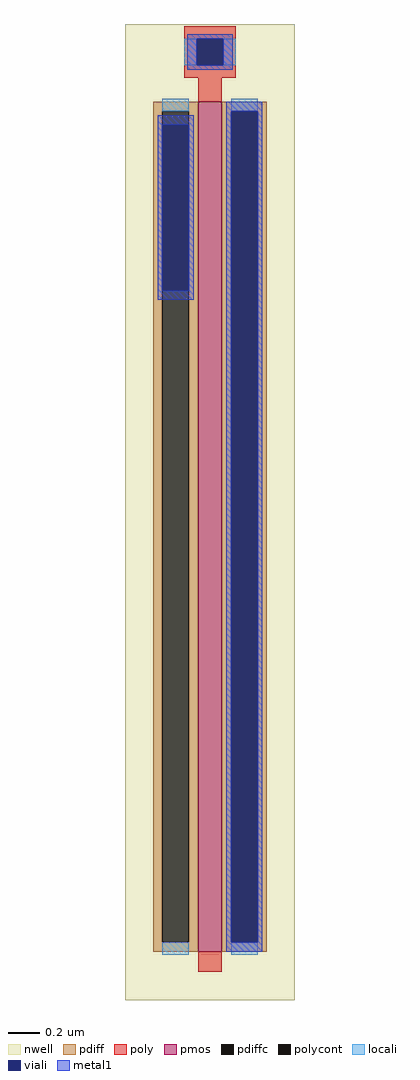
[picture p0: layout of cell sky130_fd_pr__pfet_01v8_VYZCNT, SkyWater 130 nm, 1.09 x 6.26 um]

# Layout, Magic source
magic
tech sky130A
magscale 1 2
<< nwell >>
rect -109 -643 109 609
<< pmos >>
rect -15 -581 15 509
<< pdiff >>
rect -73 497 -15 509
rect -73 -569 -61 497
rect -27 -569 -15 497
rect -73 -581 -15 -569
rect 15 497 73 509
rect 15 -569 27 497
rect 61 -569 73 497
rect 15 -581 73 -569
<< pdiffc >>
rect -61 -569 -27 497
rect 27 -569 61 497
<< poly >>
rect -33 590 33 606
rect -33 556 -17 590
rect 17 556 33 590
rect -33 540 33 556
rect -15 509 15 540
rect -15 -607 15 -581
<< polycont >>
rect -17 556 17 590
<< locali >>
rect -33 556 -17 590
rect 17 556 33 590
rect -61 497 -27 513
rect -61 -585 -27 -569
rect 27 497 61 513
rect 27 -585 61 -569
<< viali >>
rect -17 556 17 590
rect -61 267 -27 480
rect 27 -569 61 497
<< metal1 >>
rect -29 590 29 596
rect -29 556 -17 590
rect 17 556 29 590
rect -29 550 29 556
rect 21 497 67 509
rect -67 480 -21 492
rect -67 267 -61 480
rect -27 267 -21 480
rect -67 255 -21 267
rect 21 -569 27 497
rect 61 -569 67 497
rect 21 -581 67 -569
<< properties >>
string gencell sky130_fd_pr__pfet_01v8
string library sky130
string parameters w 5.445 l 0.15 m 1 nf 1 diffcov 100 polycov 100 guard 0 glc 1 grc 1 gtc 1 gbc 1 tbcov 100 rlcov 100 topc 1 botc 0 poverlap 0 doverlap 1 lmin 0.15 wmin 0.42 compatible {sky130_fd_pr__pfet_01v8  sky130_fd_pr__pfet_01v8_lvt sky130_fd_pr__pfet_01v8_hvt  sky130_fd_pr__pfet_g5v0d10v5} full_metal 0 viasrc 100 viadrn -20 viagate 100 viagb 0 viagr 0 viagl 0 viagt 0
<< end >>
